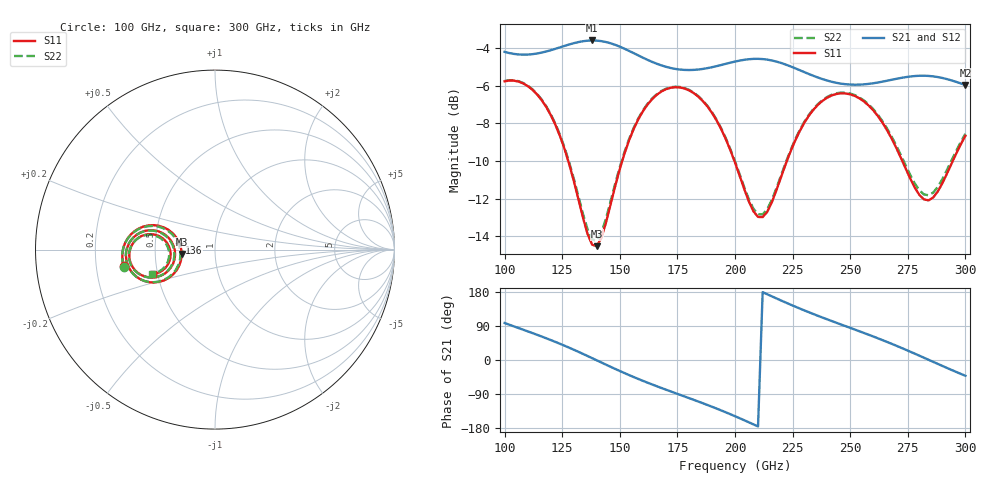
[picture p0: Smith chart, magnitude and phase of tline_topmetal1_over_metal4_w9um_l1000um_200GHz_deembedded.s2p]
! Created with skrf 2.2.0 (http://scikit-rf.org).
# GHz S DB R 50.0
! Port[1] = P1
! Port[2] = P2
!freq dBS11 angS11 dBS21 angS21 dBS12 angS12 dBS22 angS22
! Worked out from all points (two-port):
!   101 points, 100 GHz to 300 GHz, reference 50 ohm
!   highest |S21| = -3.57 dB at 138 GHz (marker M1); lowest = -5.9 dB at 300 GHz (marker M2)
!   |S21| within 3 dB of the highest: start of sweep to end of sweep
!   lowest |S11| = -14.5 dB at 140 GHz (marker M3), VSWR 1.46, Z = 34.3 - j1.76 ohm
!   |S11| at or under -10 dB: 127.6 GHz to 151.1 GHz (23.44 GHz wide, 16.8 % of centre); 199.7 GHz to 222.5 GHz (22.78 GHz wide, 10.8 % of centre); 272.6 GHz to 294.5 GHz (21.9 GHz wide, 7.72 % of centre)
!   |S22| runs from -14.2 to -5.7 dB; largest |S21 - S12| = 6.8e-14
!   S11 on the Smith chart (normalised r, x): 100 GHz: 0.32, -0.08; 136 GHz: 0.67, +0.05; 300 GHz: 0.47, -0.15
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100  -5.75 -169.7  -4.18 97.6  -4.18 97.6  -5.73 -169.3
108  -5.86 178.3  -4.33 80.1  -4.33 80.1  -5.84 178.8
118  -7.11 164.6  -4.16 57.5  -4.16 57.5  -7.07 165.3
126  -9.36 157.1  -3.86 37.8  -3.86 37.8  -9.28 158.0
134  -13.01 162.9  -3.61 16.2  -3.61 16.2  -12.81 164.0
136  -13.89 169.3  -3.58 10.5  -3.58 10.5  -13.64 170.1
138  -14.46 177.8  -3.57 4.9  -3.57 4.9  -14.18 178.3
140  -14.54 -172.4  -3.58 -0.9  -3.58 -0.9  -14.25 -172.4
146  -12.32 -151.8  -3.72 -18.0  -3.72 -18.0  -12.14 -152.5
154  -8.91 -149.9  -4.13 -39.7  -4.13 -39.7  -8.84 -150.4
168  -6.30 -166.0  -4.90 -73.7  -4.90 -73.7  -6.27 -166.1
176  -6.08 -176.5  -5.12 -91.6  -5.12 -91.6  -6.05 -176.5
186  -6.80 171.2  -5.09 -114.0  -5.09 -114.0  -6.77 171.4
200  -10.08 162.3  -4.70 -148.3  -4.70 -148.3  -10.02 162.8
212  -12.99 -172.9  -4.56 179.1  -4.56 179.1  -12.85 -172.8
224  -9.53 -154.2  -4.95 146.4  -4.95 146.4  -9.46 -154.4
234  -7.27 -160.8  -5.46 121.4  -5.46 121.4  -7.23 -160.8
252  -6.53 179.2  -5.93 80.3  -5.93 80.3  -6.48 179.6
268  -8.81 166.3  -5.67 42.7  -5.67 42.7  -8.70 167.0
276  -10.92 169.4  -5.49 22.1  -5.49 22.1  -10.73 170.2
284  -12.10 -174.5  -5.46 0.6  -5.46 0.6  -11.83 -174.5
300  -8.66 -158.3  -5.95 -41.7  -5.95 -41.7  -8.54 -159.0
